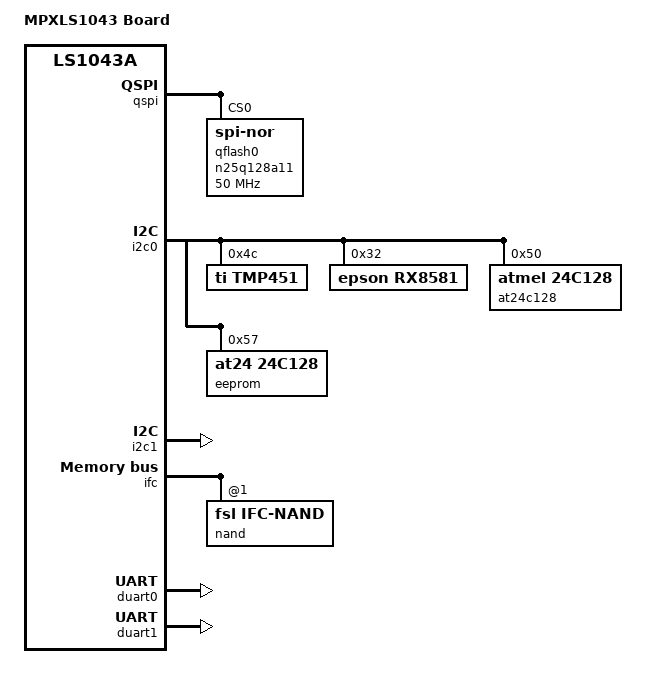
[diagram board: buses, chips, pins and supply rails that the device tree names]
/*
 * Device Tree Include file for Freescale Layerscape-1043A family SoC.
 *
 * Copyright (C) 2015, Freescale Semiconductor
 *
 * Mingkai Hu <Mingkai.hu@freescale.com>
 *
 * This file is licensed under the terms of the GNU General Public
 * License version 2.  This program is licensed "as is" without any
 * warranty of any kind, whether express or implied.
 */

/dts-v1/;
/include/ "fsl-ls1043a.dtsi"

/ {
	model = "MPXLS1043 Board";

        aliases {
		spi0 = &qspi;
        };

};

&qspi {
	bus-num = <0>;
	status = "okay";

	qflash0: n25q128a11@0 {
		#address-cells = <1>;
		#size-cells = <1>;
		compatible = "jedec,spi-nor";
		spi-max-frequency = <50000000>;
		reg = <0>;
	};
};

&i2c0 {
    status = "okay";
    u-boot,dm-pre-reloc;

    tmp451: temp@4c {
        compatible = "ti,tmp451";
        reg = <0x4c>;
        u-boot,i2c-offset-len = <1>; /* one address byte */
    };

    rx8581: rtc@32 {
		compatible = "epson,rx8581";
		reg = <0x32>;
        u-boot,i2c-offset-len = <1>; /* one address byte */
    };

    at24c128: eeprom@54 {
        compatible = "atmel,24c128";
        reg = <0x50>;
        u-boot,i2c-offset-len = <2>; /* two address bytes */
        write-page-size = <64>;
        page-write-delay = <5000>; /* 5ms delay when writing */
        max-speed = <400000>;
    };

   eeprom@57 {
	compatible = "at24,24c128";
	reg = <0x57>;
		u-boot,i2c-offset-len = <2>; /* two address bytes */
           write-page-size = <64>;
           page-write-delay = <5000>; /* 5ms delay when writing */
        max-speed = <400000>;
};
};

&i2c1 {
	status = "okay";
};

&ifc {
	status = "okay";
	#address-cells = <2>;
	#size-cells = <1>;
	/* NAND Flashes on board */
	ranges = <0x1 0x0 0x0 0x7e800000 0x00010000>;

		nand@1,0 {
			compatible = "fsl,ifc-nand";
			#address-cells = <1>;
			#size-cells = <1>;
			reg = <0x1 0x0 0x10000>;
		};
};

&duart0 {
	status = "okay";
};

&duart1 {
	status = "okay";
};
